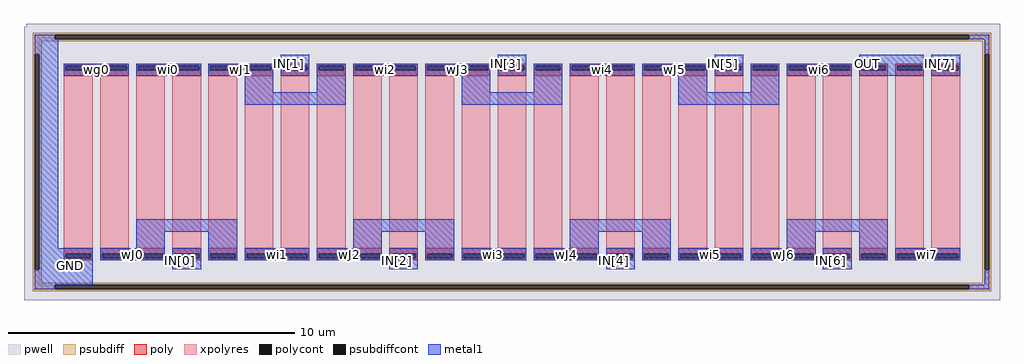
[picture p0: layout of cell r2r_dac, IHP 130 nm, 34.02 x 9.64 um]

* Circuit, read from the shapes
.subckt r2r_dac IN[0] IN[1] IN[2] IN[3] IN[4] IN[5] IN[6] IN[7] OUT GND
XR1 wg0 GND xpolyres w=1u l=6u
XR2 wg0 wJ0 xpolyres w=1u l=6u
XR3 wi0 wJ0 xpolyres w=1u l=6u
XR4 wi0 IN[0] xpolyres w=1u l=6u
XR5 wJ1 wJ0 xpolyres w=1u l=6u
XR6 wJ1 wi1 xpolyres w=1u l=6u
XR7 IN[1] wi1 xpolyres w=1u l=6u
XR8 wJ1 wJ2 xpolyres w=1u l=6u
XR9 wi2 wJ2 xpolyres w=1u l=6u
XR10 wi2 IN[2] xpolyres w=1u l=6u
XR11 wJ3 wJ2 xpolyres w=1u l=6u
XR12 wJ3 wi3 xpolyres w=1u l=6u
XR13 IN[3] wi3 xpolyres w=1u l=6u
XR14 wJ3 wJ4 xpolyres w=1u l=6u
XR15 wi4 wJ4 xpolyres w=1u l=6u
XR16 wi4 IN[4] xpolyres w=1u l=6u
XR17 wJ5 wJ4 xpolyres w=1u l=6u
XR18 wJ5 wi5 xpolyres w=1u l=6u
XR19 IN[5] wi5 xpolyres w=1u l=6u
XR20 wJ5 wJ6 xpolyres w=1u l=6u
XR21 wi6 wJ6 xpolyres w=1u l=6u
XR22 wi6 IN[6] xpolyres w=1u l=6u
XR23 OUT wJ6 xpolyres w=1u l=6u
XR24 OUT wi7 xpolyres w=1u l=6u
XR25 IN[7] wi7 xpolyres w=1u l=6u
.ends

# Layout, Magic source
magic
tech ihp-sg13g2
<< pwell >>
rect -1423 412 1971 422
rect -1431 -542 1971 412
<< psubdiff >>
rect -1400 384 1940 391
rect -1400 368 -1324 384
rect 1864 368 1940 384
rect -1400 361 1940 368
rect -1400 315 -1370 361
rect -1400 -435 -1393 315
rect -1377 -435 -1370 315
rect -1400 -481 -1370 -435
rect 1910 315 1940 361
rect 1910 -435 1917 315
rect 1933 -435 1940 315
rect 1910 -481 1940 -435
rect -1400 -488 1940 -481
rect -1400 -504 -1324 -488
rect 1864 -504 1940 -488
rect -1400 -511 1940 -504
<< psubdiffcont >>
rect -1324 368 1864 384
rect -1393 -435 -1377 315
rect 1917 -435 1933 315
rect -1324 -504 1864 -488
<< metal1 >>
rect -1393 368 -1324 384
rect 1864 368 1933 384
rect -1393 315 -1311 368
rect -1377 -360 -1311 315
rect 1917 315 1933 368
rect -1292 240 -1066 283
rect -1040 240 -814 283
rect -788 240 -562 283
rect -536 240 -436 313
rect -662 183 -562 240
rect -410 183 -310 283
rect -284 240 -58 283
rect -32 240 194 283
rect 220 240 320 313
rect -662 140 -310 183
rect 94 183 194 240
rect 346 183 446 283
rect 472 240 698 283
rect 724 240 950 283
rect 976 240 1076 313
rect 94 140 446 183
rect 850 183 950 240
rect 1102 183 1202 283
rect 1228 240 1454 283
rect 1480 240 1706 313
rect 1732 240 1832 313
rect 850 140 1202 183
rect -1040 -303 -688 -260
rect -1040 -360 -940 -303
rect -1377 -435 -1192 -360
rect -1166 -403 -940 -360
rect -914 -433 -814 -360
rect -788 -403 -688 -303
rect -284 -303 68 -260
rect -284 -360 -184 -303
rect -662 -403 -436 -360
rect -410 -403 -184 -360
rect -158 -433 -58 -360
rect -32 -403 68 -303
rect 472 -303 824 -260
rect 472 -360 572 -303
rect 94 -403 320 -360
rect 346 -403 572 -360
rect 598 -433 698 -360
rect 724 -403 824 -303
rect 1228 -303 1580 -260
rect 1228 -360 1328 -303
rect 850 -403 1076 -360
rect 1102 -403 1328 -360
rect 1354 -433 1454 -360
rect 1480 -403 1580 -303
rect 1606 -403 1832 -360
rect -1393 -488 -1192 -435
rect 1917 -488 1933 -435
rect -1393 -504 -1324 -488
rect 1864 -504 1933 -488
use rhigh  res
array 0 24 126 0 0 686
transform 1 0 -1292 0 1 -360
box 0 -43 100 643
<< labels >>
flabel metal1 -1292 240 -1066 283 0 FreeSans 160 0 0 0 wg0
flabel metal1 -1166 -403 -940 -360 0 FreeSans 160 0 0 0 wJ0
flabel metal1 -1040 240 -814 283 0 FreeSans 160 0 0 0 wi0
flabel metal1 -899 -418 -869 -388 0 FreeSans 160 0 0 0 IN[0]
port 0 nsew
flabel metal1 -788 240 -562 283 0 FreeSans 160 0 0 0 wJ1
flabel metal1 -662 -403 -436 -360 0 FreeSans 160 0 0 0 wi1
flabel metal1 -521 268 -491 298 0 FreeSans 160 0 0 0 IN[1]
port 1 nsew
flabel metal1 -410 -403 -184 -360 0 FreeSans 160 0 0 0 wJ2
flabel metal1 -284 240 -58 283 0 FreeSans 160 0 0 0 wi2
flabel metal1 -143 -418 -113 -388 0 FreeSans 160 0 0 0 IN[2]
port 2 nsew
flabel metal1 -32 240 194 283 0 FreeSans 160 0 0 0 wJ3
flabel metal1 94 -403 320 -360 0 FreeSans 160 0 0 0 wi3
flabel metal1 235 268 265 298 0 FreeSans 160 0 0 0 IN[3]
port 3 nsew
flabel metal1 346 -403 572 -360 0 FreeSans 160 0 0 0 wJ4
flabel metal1 472 240 698 283 0 FreeSans 160 0 0 0 wi4
flabel metal1 613 -418 643 -388 0 FreeSans 160 0 0 0 IN[4]
port 4 nsew
flabel metal1 724 240 950 283 0 FreeSans 160 0 0 0 wJ5
flabel metal1 850 -403 1076 -360 0 FreeSans 160 0 0 0 wi5
flabel metal1 991 268 1021 298 0 FreeSans 160 0 0 0 IN[5]
port 5 nsew
flabel metal1 1102 -403 1328 -360 0 FreeSans 160 0 0 0 wJ6
flabel metal1 1228 240 1454 283 0 FreeSans 160 0 0 0 wi6
flabel metal1 1369 -418 1399 -388 0 FreeSans 160 0 0 0 IN[6]
port 6 nsew
flabel metal1 1606 -403 1832 -360 0 FreeSans 160 0 0 0 wi7
flabel metal1 1747 268 1777 298 0 FreeSans 160 0 0 0 IN[7]
port 7 nsew
flabel metal1 1495 268 1525 298 0 FreeSans 160 0 0 0 OUT
port 8 nsew
flabel metal1 -1285 -435 -1255 -405 0 FreeSans 160 0 0 0 GND
port 9 nsew
<< end >>

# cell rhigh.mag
magic
tech ihp-sg13g2
<< poly >>
rect 0 636 100 643
rect 0 620 7 636
rect 93 620 100 636
rect 0 600 100 620
rect 0 -20 100 0
rect 0 -36 7 -20
rect 93 -36 100 -20
rect 0 -43 100 -36
<< polycont >>
rect 7 620 93 636
rect 7 -36 93 -20
<< xpolyres >>
rect 0 0 100 600
<< metal1 >>
rect 2 636 98 641
rect 2 620 7 636
rect 93 620 98 636
rect 2 615 98 620
rect 2 -20 98 -15
rect 2 -36 7 -20
rect 93 -36 98 -20
rect 2 -41 98 -36
<< labels >>
flabel comment s 50 300 50 300 0 FreeSans 100 90 0 0 rpnd r=8660.000
<< properties >>
string GDS_END 1666
string GDS_FILE ../gds/rhigh.gds
string GDS_START 100
<< end >>
